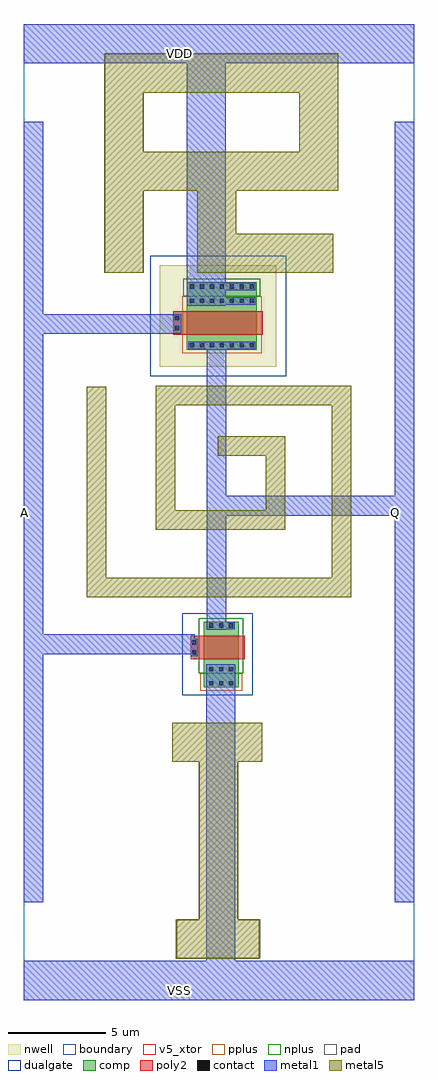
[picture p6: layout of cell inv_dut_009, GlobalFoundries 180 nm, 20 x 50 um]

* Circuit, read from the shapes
.subckt inv_dut_009 A Q VDD VSS
XM1 Q A VSS VSS nfet_05v0 w=1.8u l=1.2u
XM2 VDD A Q VDD pfet_05v0 w=3.6u l=1.2u
.ends

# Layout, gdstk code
from math import pi, radians
import gdstk
lib = gdstk.Library(unit=1e-6, precision=1e-09)
def R(c, l, rs):  # rectangles x0, y0, x1, y1
    for r in rs: c.add(gdstk.rectangle(r[:2], r[2:], *l))
def A(c, l, x, y, w, h, nx, ny, dx, dy):  # array of equal rectangles
    R(c, l, [(x+i*dx, y+j*dy, x+i*dx+w, y+j*dy+h) for i in range(nx) for j in range(ny)])
boundary = (0, 0)
nwell = (21, 0)
comp = (22, 0)
poly2 = (30, 0)
pplus = (31, 0)
nplus = (32, 0)
contact = (33, 0)
metal1 = (34, 0)
pad = (37, 0)
dualgate = (55, 0)
metal5 = (81, 0)
v5_xtor = (112, 1)

nfet_16 = lib.new_cell('nfet$16')
R(nfet_16, comp, [(-0.42,0,2.95,1.8)])
R(nfet_16, poly2, [(0.31,-0.66,1.51,2.1)])
R(nfet_16, pplus, [(2.24,-0.17,3.12,1.97)])
R(nfet_16, nplus, [(-0.59,-0.24,2.24,2.04)])
A(nfet_16, contact, -0.32, 0.28, 0.22, 0.22, 1, 3, 0, 0.51)
A(nfet_16, contact, 1.92, 0.28, 0.22, 0.22, 1, 3, 0, 0.51)
A(nfet_16, contact, 2.63, 0.28, 0.22, 0.22, 1, 3, 0, 0.51)
R(nfet_16, contact, [(0.545,-0.59,0.765,-0.37), (1.055,-0.59,1.275,-0.37)])
R(nfet_16, metal1, [(0.465,-0.67,1.355,-0.29), (-0.4,0.2,-0.02,1.6), (1.84,0.2,2.22,1.6), (2.55,0.2,2.93,1.6)])
R(nfet_16, dualgate, [(-0.84,-1.08,3.37,2.51)])
R(nfet_16, v5_xtor, [(-0.84,-1.08,3.37,2.51)])

pfet_14 = lib.new_cell('pfet$14')
R(pfet_14, nwell, [(-1.32,-0.99,3.87,4.97)])
R(pfet_14, comp, [(-0.46,0,3.01,3.6)])
R(pfet_14, poly2, [(0.31,-0.3,1.51,4.28)])
R(pfet_14, pplus, [(-0.63,-0.24,2.28,3.84)])
R(pfet_14, nplus, [(2.28,-0.17,3.18,3.77)])
A(pfet_14, contact, -0.34, 0.16, 0.22, 0.22, 1, 7, 0, 0.51)
A(pfet_14, contact, 1.94, 0.16, 0.22, 0.22, 1, 7, 0, 0.51)
A(pfet_14, contact, 2.67, 0.16, 0.22, 0.22, 1, 7, 0, 0.51)
R(pfet_14, contact, [(0.545,3.98,0.765,4.2), (1.055,3.98,1.275,4.2)])
R(pfet_14, metal1, [(-0.42,0.08,-0.04,3.52), (1.86,0.08,2.24,3.52), (2.59,0.08,2.97,3.52), (0.465,3.9,1.355,4.28)])
R(pfet_14, dualgate, [(-1.82,-1.49,4.37,5.47)])
R(pfet_14, v5_xtor, [(-1.82,-1.49,4.37,5.47)])

inv_dut_009 = lib.new_cell('inv_dut_009')
R(inv_dut_009, boundary, [(-10,-25,10,25)])
R(inv_dut_009, metal1, [(-10,-25,10,-23), (-10,-20,-9,20), (9,-20,10,20), (-10,23,10,25)])
inv_dut_009.add(gdstk.FlexPath([(-0.66,23.27),(-0.66,10.56)], 2, ends="flush", simple_path=True, layer=34, datatype=0))  # metal1
inv_dut_009.add(gdstk.FlexPath([(0.085,-23.645),(0.085,-7.81)], 1.5, ends="flush", simple_path=True, layer=34, datatype=0))  # metal1
inv_dut_009.add(gdstk.FlexPath([(-1.245,-6.775),(-9.265,-6.775)], 1, ends="flush", simple_path=True, layer=34, datatype=0))  # metal1
inv_dut_009.add(gdstk.FlexPath([(-0.135,8.73),(-0.135,-6.02)], 1, ends="flush", simple_path=True, layer=34, datatype=0))  # metal1
inv_dut_009.add(gdstk.FlexPath([(-0.015,0.32),(9.23,0.32)], 1, ends="flush", simple_path=True, layer=34, datatype=0))  # metal1
inv_dut_009.add(gdstk.FlexPath([(-9.495,9.64),(-1.945,9.64)], 1, ends="flush", simple_path=True, layer=34, datatype=0))  # metal1
inv_dut_009.add(gdstk.FlexPath([(-4.865,12.25),(-4.865,22.49),(5.12,22.49),(5.12,17.455),(-5.035,17.455)], 2, ends="flush", simple_path=True, layer=81, datatype=0))  # metal5
inv_dut_009.add(gdstk.FlexPath([(-0.11,17.26),(-0.11,13.25),(5.865,13.25)], 2, ends="flush", simple_path=True, layer=81, datatype=0))  # metal5
inv_dut_009.add(gdstk.FlexPath([(-2.22,-21.895),(2.05,-21.895)], 2, ends="flush", simple_path=True, layer=81, datatype=0))  # metal5
inv_dut_009.add(gdstk.FlexPath([(-0.015,-11.78),(-0.015,-21.935)], 2, ends="flush", simple_path=True, layer=81, datatype=0))  # metal5
inv_dut_009.add(gdstk.FlexPath([(-2.39,-11.795),(2.22,-11.795)], 2, ends="flush", simple_path=True, layer=81, datatype=0))  # metal5
inv_dut_009.add(gdstk.FlexPath([(-6.265,6.405),(-6.265,-3.87),(6.265,-3.87),(6.265,5.98),(-2.745,5.98),(-2.745,-0.42),(2.885,-0.42),(2.885,3.38),(-0.07,3.38)], 1, ends="flush", simple_path=True, layer=81, datatype=0))  # metal5
inv_dut_009.add(gdstk.FlexPath([(-4.88,12.245),(-4.88,22.485),(5.105,22.485),(5.105,17.45),(-5.05,17.45)], 2, ends="flush", simple_path=True, layer=37, datatype=0))  # pad
inv_dut_009.add(gdstk.FlexPath([(-0.125,17.26),(-0.125,13.25),(5.85,13.25)], 2, ends="flush", simple_path=True, layer=37, datatype=0))  # pad
inv_dut_009.add(gdstk.FlexPath([(-2.165,-21.865),(2.105,-21.865)], 2, ends="flush", simple_path=True, layer=37, datatype=0))  # pad
inv_dut_009.add(gdstk.FlexPath([(-0.03,-11.85),(-0.03,-22.005)], 2, ends="flush", simple_path=True, layer=37, datatype=0))  # pad
inv_dut_009.add(gdstk.FlexPath([(-2.405,-11.795),(2.205,-11.795)], 2, ends="flush", simple_path=True, layer=37, datatype=0))  # pad
inv_dut_009.add(gdstk.FlexPath([(-6.265,6.405),(-6.265,-3.87),(6.265,-3.87),(6.265,5.98),(-2.745,5.98),(-2.745,-0.42),(2.885,-0.42),(2.885,3.38),(-0.07,3.38)], 1, ends="flush", simple_path=True, layer=37, datatype=0))  # pad
inv_dut_009.add(gdstk.Reference(nfet_16, (-0.79,-6.03), rotation=3*pi/2))
inv_dut_009.add(gdstk.Reference(pfet_14, (1.945,8.77), rotation=pi/2))
inv_dut_009.add(gdstk.Label('VDD', (-2,23.5), layer=34, texttype=10))
inv_dut_009.add(gdstk.Label('VSS', (-2,-24.5), layer=34, texttype=10))
inv_dut_009.add(gdstk.Label('A', (-9.97,0), layer=34, texttype=10))
inv_dut_009.add(gdstk.Label('Q', (9.03,0), layer=34, texttype=10))

lib.write_gds('inv_dut_009.gds')
